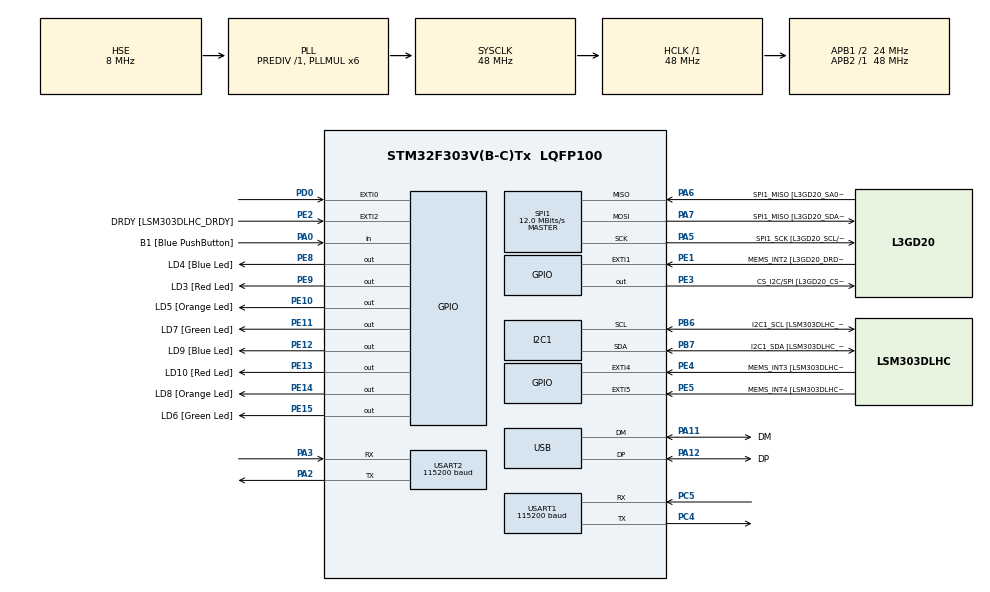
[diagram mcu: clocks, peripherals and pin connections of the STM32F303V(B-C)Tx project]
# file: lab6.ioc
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I2C1.Timing=0x2000090E
I2C1.Timing-I2C=0x2000090E
Mcu.Family=STM32F3
Mcu.Name=STM32F303V(B-C)Tx
Mcu.Package=LQFP100
NVIC.EXTI0_IRQn=true\:0\:0\:false\:false\:true\:true\:true\:true
NVIC.PriorityGroup=NVIC_PRIORITYGROUP_0
PA0.GPIO_Label=B1 [Blue PushButton]
PA0.Signal=GPIO_Input
PA11.GPIO_Label=DM
PA11.Mode=Device
PA11.Signal=USB_DM
PA12.GPIO_Label=DP
PA12.Mode=Device
PA12.Signal=USB_DP
PA13.GPIO_Label=SWDIO
PA13.Mode=Serial_Wire
PA13.Signal=SYS_JTMS-SWDIO
PA14.GPIO_Label=SWCLK
PA14.Mode=Serial_Wire
PA14.Signal=SYS_JTCK-SWCLK
PA2.Mode=Asynchronous
PA2.Signal=USART2_TX
PA3.Mode=Asynchronous
PA3.Signal=USART2_RX
PA5.GPIO_Label=SPI1_SCK [L3GD20_SCL/SPC]
PA5.Mode=Full_Duplex_Master
PA5.Signal=SPI1_SCK
PA6.GPIO_Label=SPI1_MISO [L3GD20_SA0/SDO]
PA6.Mode=Full_Duplex_Master
PA6.Signal=SPI1_MISO
PA7.GPIO_Label=SPI1_MISO [L3GD20_SDA/SDI/SDO]
PA7.Mode=Full_Duplex_Master
PA7.Signal=SPI1_MOSI
PB3.GPIO_Label=SWO
PB3.Signal=SYS_JTDO-TRACESWO
PB6.GPIO_Label=I2C1_SCL [LSM303DLHC_SCL]
PB6.GPIO_Pu=GPIO_PULLUP
PB6.Mode=I2C
PB6.Signal=I2C1_SCL
PB7.GPIO_Label=I2C1_SDA [LSM303DLHC_SDA]
PB7.GPIO_Pu=GPIO_PULLUP
PB7.Mode=I2C
PB7.Signal=I2C1_SDA
PC14-OSC32_IN.GPIO_Label=OSC32_IN
PC14-OSC32_IN.Signal=RCC_OSC32_IN
PC15-OSC32_OUT.GPIO_Label=OSC32_OUT
PC15-OSC32_OUT.Signal=RCC_OSC32_OUT
PC4.Mode=Asynchronous
PC4.Signal=USART1_TX
PC5.Mode=Asynchronous
PC5.Signal=USART1_RX
PD0.GPIO_ModeDefaultEXTI=GPIO_MODE_IT_RISING
PD0.Signal=GPXTI0
PE1.GPIO_Label=MEMS_INT2 [L3GD20_DRDY/INT2]
PE1.GPIO_ModeDefaultEXTI=GPIO_MODE_EVT_RISING
PE1.Signal=GPXTI1
PE10.GPIO_Label=LD5 [Orange Led]
PE10.Signal=GPIO_Output
PE11.GPIO_Label=LD7 [Green Led]
PE11.Signal=GPIO_Output
PE12.GPIO_Label=LD9 [Blue Led]
PE12.Signal=GPIO_Output
PE13.GPIO_Label=LD10 [Red Led]
PE13.Signal=GPIO_Output
PE14.GPIO_Label=LD8 [Orange Led]
PE14.Signal=GPIO_Output
PE15.GPIO_Label=LD6 [Green Led]
PE15.Signal=GPIO_Output
PE2.GPIO_Label=DRDY [LSM303DLHC_DRDY]
PE2.GPIO_ModeDefaultEXTI=GPIO_MODE_EVT_RISING
PE2.Signal=GPXTI2
PE3.GPIO_Label=CS_I2C/SPI [L3GD20_CS_I2C/SPI]
PE3.Signal=GPIO_Output
PE4.GPIO_Label=MEMS_INT3 [LSM303DLHC_INT1]
PE4.GPIO_ModeDefaultEXTI=GPIO_MODE_EVT_RISING
PE4.Signal=GPXTI4
PE5.GPIO_Label=MEMS_INT4 [LSM303DLHC_INT2]
PE5.GPIO_ModeDefaultEXTI=GPIO_MODE_EVT_RISING
PE5.Signal=GPXTI5
PE8.GPIO_Label=LD4 [Blue Led]
PE8.Signal=GPIO_Output
PE9.GPIO_Label=LD3 [Red Led]
PE9.Signal=GPIO_Output
PF0-OSC_IN.GPIO_Label=OSC_IN
PF0-OSC_IN.Mode=HSE-External-Clock-Source
PF0-OSC_IN.Signal=RCC_OSC_IN
PF1-OSC_OUT.GPIO_Label=OSC_OUT
PF1-OSC_OUT.Signal=RCC_OSC_OUT
ProjectManager.HeapSize=0x200
ProjectManager.StackSize=0x400
ProjectManager.TargetToolchain=CMake
RCC.AHBFreq_Value=48000000
RCC.APB1CLKDivider=RCC_HCLK_DIV2
RCC.APB1Freq_Value=24000000
RCC.APB1TimFreq_Value=48000000
RCC.APB2Freq_Value=48000000
RCC.APB2TimFreq_Value=48000000
RCC.CortexFreq_Value=48000000
RCC.HCLKFreq_Value=48000000
RCC.HSE_VALUE=8000000
RCC.HSI_VALUE=8000000
RCC.LSE_VALUE=32768
RCC.PLLMUL=RCC_PLL_MUL6
RCC.SYSCLKFreq_VALUE=48000000
RCC.SYSCLKSourceVirtual=RCC_SYSCLKSOURCE_PLLCLK
RCC.USBFreq_Value=48000000
SPI1.BaudRatePrescaler=SPI_BAUDRATEPRESCALER_4
SPI1.BaudRatePrescaler-Full_Duplex_Master=SPI_BAUDRATEPRESCALER_2
SPI1.CalculateBaudRate=12.0 MBits/s
SPI1.CalculateBaudRate-Full_Duplex_Master=24.0 MBits/s
SPI1.Direction=SPI_DIRECTION_2LINES
SPI1.Mode=SPI_MODE_MASTER
SPI1.Mode-Full_Duplex_Master=SPI_MODE_MASTER
SPI1.VirtualType=VM_MASTER
TIM2.Period=65535
TIM2.Prescaler=9
USART1.BaudRate=115200
USART1.VirtualMode-Asynchronous=VM_ASYNC
USART2.BaudRate=115200
USART2.VirtualMode-Asynchronous=VM_ASYNC
VP_TIM2_VS_ClockSourceINT.Mode=Internal
board=STM32F3DISCOVERY

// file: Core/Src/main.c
/* USER CODE BEGIN Header */
/**
  ******************************************************************************
  * @file           : main.c
  * @brief          : Main program body
  ******************************************************************************
  * @attention
  *
  * Copyright (c) 2026 STMicroelectronics.
  * All rights reserved.
  *
  * This software is licensed under terms that can be found in the LICENSE file
  * in the root directory of this software component.
  * If no LICENSE file comes with this software, it is provided AS-IS.
  *
  ******************************************************************************
  */
/* USER CODE END Header */
#include "main.h"

/* USER CODE BEGIN Includes */
#include "stdio.h"

/* USER CODE END Includes */

I2C_HandleTypeDef hi2c1;

SPI_HandleTypeDef hspi1;

TIM_HandleTypeDef htim2;

UART_HandleTypeDef huart1;
UART_HandleTypeDef huart2;

PCD_HandleTypeDef hpcd_USB_FS;

/* USER CODE BEGIN PV */
volatile uint32_t captured[10];
volatile uint8_t list_index = 0;
volatile uint8_t state = 0;
volatile uint8_t flag = 0;

int __io_putchar(int ch) {
  HAL_UART_Transmit(&huart1 , (uint8_t *)&ch , 1 , HAL_MAX_DELAY);
  return ch;
}
/* USER CODE END PV */

void SystemClock_Config(void);
static void MX_GPIO_Init(void);
static void MX_I2C1_Init(void);
static void MX_SPI1_Init(void);
static void MX_TIM2_Init(void);
static void MX_USART2_UART_Init(void);
static void MX_USB_PCD_Init(void);
static void MX_USART1_UART_Init(void);
/* USER CODE BEGIN PFP */

void HAL_GPIO_EXTI_Callback(uint16_t GPIO_Pin) {
  if (GPIO_Pin == GPIO_PIN_0) {
    if (state == 0) {
      __HAL_TIM_SET_COUNTER(&htim2 , 0);
      HAL_TIM_Base_Start(&htim2);
      state = 1;
    } else if (state == 1) {
      if (list_index < 10) {
        captured[list_index] = __HAL_TIM_GET_COUNTER(&htim2);
        __HAL_TIM_SET_COUNTER(&htim2 , 0);
        list_index++;
      }
      if (list_index >= 10) {
        HAL_TIM_Base_Stop(&htim2);
        state = 0;
        list_index = 0;
        flag = 1;
      }
    }
  }
}

/* USER CODE END PFP */

int main(void)
{

  /* MCU Configuration--------------------------------------------------------*/

  /* Reset of all peripherals, Initializes the Flash interface and the Systick. */
  HAL_Init();

  /* Configure the system clock */
  SystemClock_Config();

  /* Initialize all configured peripherals */
  MX_GPIO_Init();
  MX_I2C1_Init();
  MX_SPI1_Init();
  MX_TIM2_Init();
  MX_USART2_UART_Init();
  MX_USB_PCD_Init();
  MX_USART1_UART_Init();

  /* Infinite loop */
  /* USER CODE BEGIN WHILE */
  while (1) {
    if (flag) {
      uint32_t total = 0;
      for (int i = 0 ; i < 10 ; i++) {
        total += captured[i];
      }
      float avg = (float) total / 10.0f;
      int freq = 4800000 / avg;
      printf("Measured frequency: %d Hz \r\n" , freq);
      printf("Average Time Period: %d Hz \r\n" , (int) avg);
      flag = 0;
    }
    HAL_Delay(100);
    /* USER CODE BEGIN 2 */

  /* USER CODE END 2 */

    /* USER CODE END WHILE */

  }
}

void SystemClock_Config(void)
{
  RCC_OscInitTypeDef RCC_OscInitStruct = {0};
  RCC_ClkInitTypeDef RCC_ClkInitStruct = {0};
  RCC_PeriphCLKInitTypeDef PeriphClkInit = {0};

  /** Initializes the RCC Oscillators according to the specified parameters
  * in the RCC_OscInitTypeDef structure.
  */
  RCC_OscInitStruct.OscillatorType = RCC_OSCILLATORTYPE_HSI|RCC_OSCILLATORTYPE_HSE;
  RCC_OscInitStruct.HSEState = RCC_HSE_BYPASS;
  RCC_OscInitStruct.HSEPredivValue = RCC_HSE_PREDIV_DIV1;
  RCC_OscInitStruct.HSIState = RCC_HSI_ON;
  RCC_OscInitStruct.HSICalibrationValue = RCC_HSICALIBRATION_DEFAULT;
  RCC_OscInitStruct.PLL.PLLState = RCC_PLL_ON;
  RCC_OscInitStruct.PLL.PLLSource = RCC_PLLSOURCE_HSE;
  RCC_OscInitStruct.PLL.PLLMUL = RCC_PLL_MUL6;
  if (HAL_RCC_OscConfig(&RCC_OscInitStruct) != HAL_OK)
  {
    Error_Handler();
  }

  /** Initializes the CPU, AHB and APB buses clocks
  */
  RCC_ClkInitStruct.ClockType = RCC_CLOCKTYPE_HCLK|RCC_CLOCKTYPE_SYSCLK
                              |RCC_CLOCKTYPE_PCLK1|RCC_CLOCKTYPE_PCLK2;
  RCC_ClkInitStruct.SYSCLKSource = RCC_SYSCLKSOURCE_PLLCLK;
  RCC_ClkInitStruct.AHBCLKDivider = RCC_SYSCLK_DIV1;
  RCC_ClkInitStruct.APB1CLKDivider = RCC_HCLK_DIV2;
  RCC_ClkInitStruct.APB2CLKDivider = RCC_HCLK_DIV1;

  if (HAL_RCC_ClockConfig(&RCC_ClkInitStruct, FLASH_LATENCY_1) != HAL_OK)
  {
    Error_Handler();
  }
  PeriphClkInit.PeriphClockSelection = RCC_PERIPHCLK_USB|RCC_PERIPHCLK_USART1
                              |RCC_PERIPHCLK_USART2|RCC_PERIPHCLK_I2C1;
  PeriphClkInit.Usart1ClockSelection = RCC_USART1CLKSOURCE_PCLK2;
  PeriphClkInit.Usart2ClockSelection = RCC_USART2CLKSOURCE_PCLK1;
  PeriphClkInit.I2c1ClockSelection = RCC_I2C1CLKSOURCE_HSI;
  PeriphClkInit.USBClockSelection = RCC_USBCLKSOURCE_PLL;
  if (HAL_RCCEx_PeriphCLKConfig(&PeriphClkInit) != HAL_OK)
  {
    Error_Handler();
  }
}

static void MX_I2C1_Init(void)
{

  hi2c1.Instance = I2C1;
  hi2c1.Init.Timing = 0x2000090E;
  hi2c1.Init.OwnAddress1 = 0;
  hi2c1.Init.AddressingMode = I2C_ADDRESSINGMODE_7BIT;
  hi2c1.Init.DualAddressMode = I2C_DUALADDRESS_DISABLE;
  hi2c1.Init.OwnAddress2 = 0;
  hi2c1.Init.OwnAddress2Masks = I2C_OA2_NOMASK;
  hi2c1.Init.GeneralCallMode = I2C_GENERALCALL_DISABLE;
  hi2c1.Init.NoStretchMode = I2C_NOSTRETCH_DISABLE;
  if (HAL_I2C_Init(&hi2c1) != HAL_OK)
  {
    Error_Handler();
  }

  /** Configure Analogue filter
  */
  if (HAL_I2CEx_ConfigAnalogFilter(&hi2c1, I2C_ANALOGFILTER_ENABLE) != HAL_OK)
  {
    Error_Handler();
  }

  /** Configure Digital filter
  */
  if (HAL_I2CEx_ConfigDigitalFilter(&hi2c1, 0) != HAL_OK)
  {
    Error_Handler();
  }

}

static void MX_SPI1_Init(void)
{

  /* SPI1 parameter configuration*/
  hspi1.Instance = SPI1;
  hspi1.Init.Mode = SPI_MODE_MASTER;
  hspi1.Init.Direction = SPI_DIRECTION_2LINES;
  hspi1.Init.DataSize = SPI_DATASIZE_4BIT;
  hspi1.Init.CLKPolarity = SPI_POLARITY_LOW;
  hspi1.Init.CLKPhase = SPI_PHASE_1EDGE;
  hspi1.Init.NSS = SPI_NSS_SOFT;
  hspi1.Init.BaudRatePrescaler = SPI_BAUDRATEPRESCALER_4;
  hspi1.Init.FirstBit = SPI_FIRSTBIT_MSB;
  hspi1.Init.TIMode = SPI_TIMODE_DISABLE;
  hspi1.Init.CRCCalculation = SPI_CRCCALCULATION_DISABLE;
  hspi1.Init.CRCPolynomial = 7;
  hspi1.Init.CRCLength = SPI_CRC_LENGTH_DATASIZE;
  hspi1.Init.NSSPMode = SPI_NSS_PULSE_ENABLE;
  if (HAL_SPI_Init(&hspi1) != HAL_OK)
  {
    Error_Handler();
  }

}

static void MX_TIM2_Init(void)
{

  TIM_ClockConfigTypeDef sClockSourceConfig = {0};
  TIM_MasterConfigTypeDef sMasterConfig = {0};

  htim2.Instance = TIM2;
  htim2.Init.Prescaler = 9;
  htim2.Init.CounterMode = TIM_COUNTERMODE_UP;
  htim2.Init.Period = 65535;
  htim2.Init.ClockDivision = TIM_CLOCKDIVISION_DIV1;
  htim2.Init.AutoReloadPreload = TIM_AUTORELOAD_PRELOAD_DISABLE;
  if (HAL_TIM_Base_Init(&htim2) != HAL_OK)
  {
    Error_Handler();
  }
  sClockSourceConfig.ClockSource = TIM_CLOCKSOURCE_INTERNAL;
  if (HAL_TIM_ConfigClockSource(&htim2, &sClockSourceConfig) != HAL_OK)
  {
    Error_Handler();
  }
  sMasterConfig.MasterOutputTrigger = TIM_TRGO_RESET;
  sMasterConfig.MasterSlaveMode = TIM_MASTERSLAVEMODE_DISABLE;
  if (HAL_TIMEx_MasterConfigSynchronization(&htim2, &sMasterConfig) != HAL_OK)
  {
    Error_Handler();
  }

}

static void MX_USART1_UART_Init(void)
{

  huart1.Instance = USART1;
  huart1.Init.BaudRate = 115200;
  huart1.Init.WordLength = UART_WORDLENGTH_8B;
  huart1.Init.StopBits = UART_STOPBITS_1;
  huart1.Init.Parity = UART_PARITY_NONE;
  huart1.Init.Mode = UART_MODE_TX_RX;
  huart1.Init.HwFlowCtl = UART_HWCONTROL_NONE;
  huart1.Init.OverSampling = UART_OVERSAMPLING_16;
  huart1.Init.OneBitSampling = UART_ONE_BIT_SAMPLE_DISABLE;
  huart1.AdvancedInit.AdvFeatureInit = UART_ADVFEATURE_NO_INIT;
  if (HAL_UART_Init(&huart1) != HAL_OK)
  {
    Error_Handler();
  }

}

static void MX_USART2_UART_Init(void)
{

  huart2.Instance = USART2;
  huart2.Init.BaudRate = 115200;
  huart2.Init.WordLength = UART_WORDLENGTH_8B;
  huart2.Init.StopBits = UART_STOPBITS_1;
  huart2.Init.Parity = UART_PARITY_NONE;
  huart2.Init.Mode = UART_MODE_TX_RX;
  huart2.Init.HwFlowCtl = UART_HWCONTROL_NONE;
  huart2.Init.OverSampling = UART_OVERSAMPLING_16;
  huart2.Init.OneBitSampling = UART_ONE_BIT_SAMPLE_DISABLE;
  huart2.AdvancedInit.AdvFeatureInit = UART_ADVFEATURE_NO_INIT;
  if (HAL_UART_Init(&huart2) != HAL_OK)
  {
    Error_Handler();
  }

}

static void MX_USB_PCD_Init(void)
{

  hpcd_USB_FS.Instance = USB;
  hpcd_USB_FS.Init.dev_endpoints = 8;
  hpcd_USB_FS.Init.speed = PCD_SPEED_FULL;
  hpcd_USB_FS.Init.phy_itface = PCD_PHY_EMBEDDED;
  hpcd_USB_FS.Init.low_power_enable = DISABLE;
  hpcd_USB_FS.Init.battery_charging_enable = DISABLE;
  if (HAL_PCD_Init(&hpcd_USB_FS) != HAL_OK)
  {
    Error_Handler();
  }

}

static void MX_GPIO_Init(void)
{
  GPIO_InitTypeDef GPIO_InitStruct = {0};

  /* GPIO Ports Clock Enable */
  __HAL_RCC_GPIOE_CLK_ENABLE();
  __HAL_RCC_GPIOC_CLK_ENABLE();
  __HAL_RCC_GPIOF_CLK_ENABLE();
  __HAL_RCC_GPIOA_CLK_ENABLE();
  __HAL_RCC_GPIOD_CLK_ENABLE();
  __HAL_RCC_GPIOB_CLK_ENABLE();

  /*Configure GPIO pin Output Level */
  HAL_GPIO_WritePin(GPIOE, CS_I2C_SPI_Pin|LD4_Pin|LD3_Pin|LD5_Pin
                          |LD7_Pin|LD9_Pin|LD10_Pin|LD8_Pin
                          |LD6_Pin, GPIO_PIN_RESET);

  /*Configure GPIO pins : DRDY_Pin MEMS_INT3_Pin MEMS_INT4_Pin MEMS_INT2_Pin */
  GPIO_InitStruct.Pin = DRDY_Pin|MEMS_INT3_Pin|MEMS_INT4_Pin|MEMS_INT2_Pin;
  GPIO_InitStruct.Mode = GPIO_MODE_EVT_RISING;
  GPIO_InitStruct.Pull = GPIO_NOPULL;
  HAL_GPIO_Init(GPIOE, &GPIO_InitStruct);

  /*Configure GPIO pins : CS_I2C_SPI_Pin LD4_Pin LD3_Pin LD5_Pin
                           LD7_Pin LD9_Pin LD10_Pin LD8_Pin
                           LD6_Pin */
  GPIO_InitStruct.Pin = CS_I2C_SPI_Pin|LD4_Pin|LD3_Pin|LD5_Pin
                          |LD7_Pin|LD9_Pin|LD10_Pin|LD8_Pin
                          |LD6_Pin;
  GPIO_InitStruct.Mode = GPIO_MODE_OUTPUT_PP;
  GPIO_InitStruct.Pull = GPIO_NOPULL;
  GPIO_InitStruct.Speed = GPIO_SPEED_FREQ_LOW;
  HAL_GPIO_Init(GPIOE, &GPIO_InitStruct);

  /*Configure GPIO pin : B1_Pin */
  GPIO_InitStruct.Pin = B1_Pin;
  GPIO_InitStruct.Mode = GPIO_MODE_INPUT;
  GPIO_InitStruct.Pull = GPIO_NOPULL;
  HAL_GPIO_Init(B1_GPIO_Port, &GPIO_InitStruct);

  /*Configure GPIO pin : PD0 */
  GPIO_InitStruct.Pin = GPIO_PIN_0;
  GPIO_InitStruct.Mode = GPIO_MODE_IT_RISING;
  GPIO_InitStruct.Pull = GPIO_NOPULL;
  HAL_GPIO_Init(GPIOD, &GPIO_InitStruct);

  /* EXTI interrupt init*/
  HAL_NVIC_SetPriority(EXTI0_IRQn, 0, 0);
  HAL_NVIC_EnableIRQ(EXTI0_IRQn);

}

void Error_Handler(void)
{
  __disable_irq();
  while (1)
  {
  }
}
